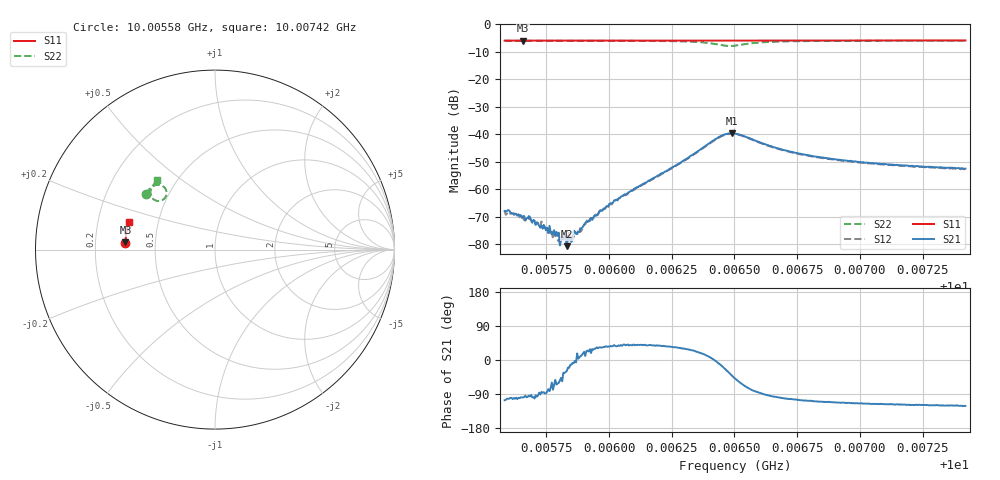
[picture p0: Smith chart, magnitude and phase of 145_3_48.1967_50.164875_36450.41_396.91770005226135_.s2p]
#  HZ  S  RI  R  50.00
! Rohde & Schwarz Vector Network Analyzer
! Rohde-Schwarz,ZNB20-2Port,1311601062101988,3.16
! Created: UTC 3/20/2024, 11:42:35 AM
! freq[Hz]  re:S11  im:S11  re:S21  im:S21  re:S12  im:S12  re:S22  im:S22
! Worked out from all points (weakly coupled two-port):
!   401 points, 10.00558 GHz to 10.00742 GHz, reference 50 ohm
!   highest |S21| = -39.70 dB at 10.00649 GHz (marker M1); lowest = -80.8 dB at 10.00583 GHz (marker M2)
!   lowest |S11| = -6.0 dB at 10.00566 GHz (marker M3), VSWR 3.01, Z = 16.7 + j1.79 ohm
!   |S11| at or under -10 dB: nowhere
!   |S22| runs from -7.9 to -6.0 dB; largest |S21 - S12| = 0.00063
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1.0005584e10  -0.4995 0.0355  -0.00011 -0.000379  -4.65e-05 -0.000407  -0.3864 0.3123
1.0005657e10  -0.4992 0.0403  -4.92e-05 -0.000316  -4.85e-05 -0.000294  -0.383 0.3169
1.000568e10  -0.4993 0.0418  -2.47e-05 -0.000322  -4.24e-05 -0.000293  -0.382 0.3182
1.0005722e10  -0.4991 0.0445  1.4e-05 -0.000215  5.57e-06 -0.000209  -0.3797 0.3209
1.0005777e10  -0.4988 0.0481  3.15e-05 -0.000153  2.47e-05 -0.000121  -0.3771 0.3242
1.000579e10  -0.4987 0.049  7.12e-05 -0.00015  5.58e-05 -0.000122  -0.3763 0.3252
1.0005795e10  -0.4989 0.0493  6.61e-05 -0.000124  6.41e-05 -0.0001  -0.3761 0.3256
1.0005809e10  -0.4988 0.0502  8.1e-05 -8.72e-05  9.11e-05 -0.000104  -0.3754 0.3262
1.0005832e10  -0.4987 0.0517  8e-05 -4.4e-05  0.000126 -6.6e-05  -0.3742 0.3279
1.0005841e10  -0.4985 0.0523  0.00011 -4.12e-05  0.000166 -3.08e-05  -0.3737 0.3284
1.0005855e10  -0.4985 0.0531  0.000119 -1.62e-05  0.000136 -6.7e-06  -0.3728 0.3292
1.0005891e10  -0.4983 0.0557  0.000191 4.47e-05  0.000174 4.68e-05  -0.3706 0.3317
1.0005919e10  -0.4982 0.0573  0.000239 9.83e-05  0.000252 7.13e-05  -0.3689 0.3333
1.0006034e10  -0.4974 0.0648  0.000497 0.000371  0.00049 0.000419  -0.3612 0.3415
1.0006199e10  -0.4961 0.0754  0.00141 0.00109  0.00134 0.00112  -0.3441 0.354
1.0006433e10  -0.4934 0.0904  0.00853 -0.00103  0.00836 -0.000572  -0.2716 0.3289
1.0006488e10  -0.4928 0.0933  0.00789 -0.0067  0.00803 -0.00609  -0.2881 0.2793
1.0006502e10  -0.4928 0.0941  0.00672 -0.00767  0.00697 -0.00718  -0.3004 0.2729
1.0006663e10  -0.4918 0.1045  -0.000708 -0.00563  -0.000448 -0.00556  -0.3601 0.3169
1.000681e10  -0.4901 0.1138  -0.00126 -0.00378  -0.00106 -0.00376  -0.3542 0.3423
1.0007117e10  -0.4858 0.1333  -0.00126 -0.0025  -0.00113 -0.00251  -0.3371 0.3683
1.0007421e10  -0.4809 0.1523  -0.00122 -0.00201  -0.00109 -0.00204  -0.3209 0.3853
